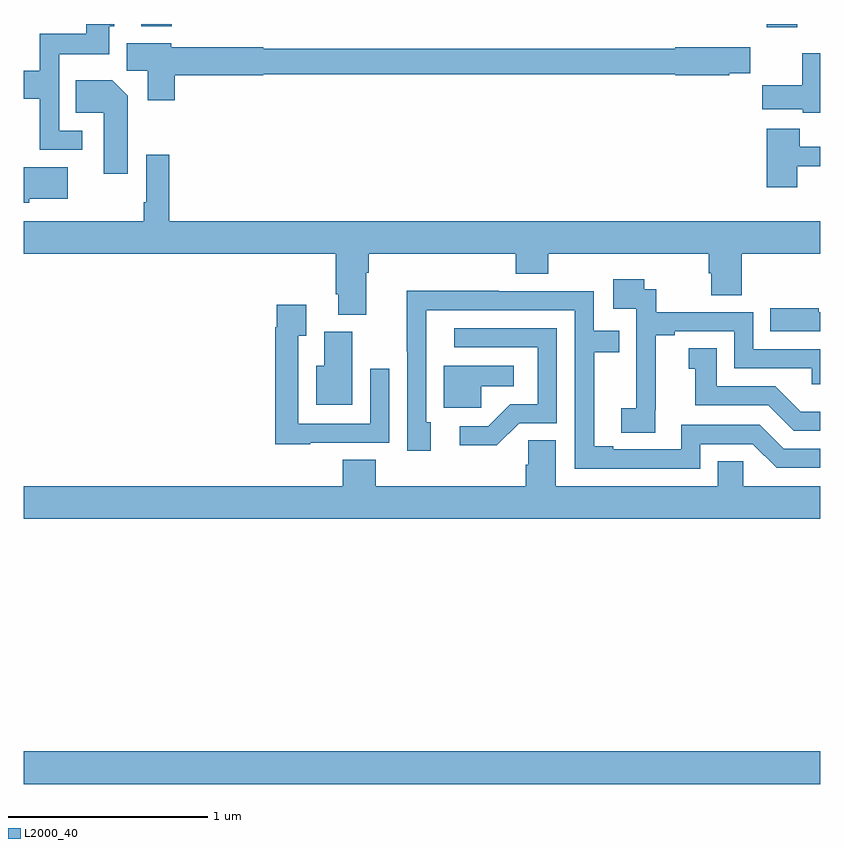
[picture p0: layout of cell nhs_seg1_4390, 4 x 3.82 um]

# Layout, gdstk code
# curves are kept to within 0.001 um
import gdstk
lib = gdstk.Library(unit=1e-6, precision=1e-09)
def R(c, l, rs):  # rectangles x0, y0, x1, y1
    for r in rs: c.add(gdstk.rectangle(r[:2], r[2:], *l))
def P(c, l, *ps):  # polygons
    for p in ps: c.add(gdstk.Polygon(p, *l))
L2000_40 = (2000, 40)

nhs_seg1_4390 = lib.new_cell('nhs_seg1_4390')
R(nhs_seg1_4390, L2000_40, [(349,570.38,353,570.544), (352.733,574.182,352.885,574.199), (349.589,574.187,349.742,574.199)])
P(nhs_seg1_4390, L2000_40, [(349.294,573.663),(349.176,573.663),(349.176,574.046),(349.429,574.046),(349.429,574.188),(349.453,574.188),(349.453,574.199),(349.313,574.199),(349.313,574.15),(349.078,574.15),(349.078,573.964),(349,573.964),(349,573.824),(349.08,573.824),(349.08,573.567),(349.294,573.567)],
  [(349.757,573.941),(350.202,573.941),(350.202,573.946),(352.272,573.946),(352.272,573.941),(352.544,573.941),(352.544,573.951),(352.65,573.951),(352.65,574.083),(352.272,574.083),(352.272,574.075),(350.202,574.075),(350.202,574.083),(349.74,574.083),(349.74,574.102),(349.517,574.102),(349.517,573.964),(349.622,573.964),(349.622,573.816),(349.757,573.816)],
  [(353,574.051),(352.91,574.051),(352.91,573.89),(352.71,573.89),(352.71,573.77),(352.914,573.77),(352.914,573.752),(353,573.752)],
  [(349.522,573.838),(349.444,573.916),(349.261,573.916),(349.261,573.752),(349.4,573.752),(349.4,573.447),(349.522,573.447)],
  [(352.885,573.483),(353,573.483),(353,573.583),(352.898,573.583),(352.898,573.673),(352.733,573.673),(352.733,573.378),(352.885,573.378)],
  [(350.719,572.948),(350.732,572.948),(350.732,573.044),(351.47,573.044),(351.47,572.945),(351.635,572.945),(351.635,573.044),(352.442,573.044),(352.442,572.946),(352.454,572.946),(352.454,572.836),(352.607,572.836),(352.607,573.044),(353,573.044),(353,573.208),(349.73,573.208),(349.73,573.541),(349.614,573.541),(349.614,573.304),(349.602,573.304),(349.602,573.208),(349,573.208),(349,573.044),(350.567,573.044),(350.567,572.842),(350.579,572.842),(350.579,572.737),(350.719,572.737)],
  [(349.026,573.32),(349.219,573.32),(349.219,573.478),(349,573.478),(349,573.302),(349.026,573.302)],
  [(352.172,572.257),(352.174,572.257),(352.174,572.635),(352.27,572.635),(352.27,572.655),(352.569,572.655),(352.569,572.469),(352.959,572.469),(352.959,572.388),(353,572.388),(353,572.565),(352.665,572.565),(352.665,572.751),(352.178,572.751),(352.178,572.865),(352.116,572.865),(352.116,572.917),(351.96,572.917),(351.96,572.769),(352.077,572.769),(352.077,572.465),(352.076,572.465),(352.076,572.268),(352.002,572.268),(352.002,572.146),(352.172,572.146)],
  [(352.398,572.088),(352.662,572.088),(352.782,571.968),(353,571.968),(353,572.064),(352.818,572.064),(352.698,572.184),(352.302,572.184),(352.302,572.061),(351.961,572.061),(351.961,572.076),(351.865,572.076),(351.865,572.55),(351.992,572.55),(351.992,572.658),(351.864,572.658),(351.864,572.856),(351.386,572.856),(351.386,572.858),(350.924,572.858),(350.925,572.055),(351.043,572.055),(351.043,572.199),(351.021,572.199),(351.021,572.76),(351.768,572.76),(351.768,571.965),(352.398,571.965)],
  [(350.439,572.094),(350.835,572.094),(350.835,572.467),(350.739,572.467),(350.739,572.19),(350.379,572.19),(350.379,572.632),(350.419,572.632),(350.419,572.788),(350.271,572.788),(350.271,572.675),(350.263,572.675),(350.263,572.087),(350.439,572.087)],
  [(353,572.751),(352.993,572.751),(352.993,572.77),(352.75,572.77),(352.75,572.655),(353,572.655)],
  [(351.489,572.193),(351.678,572.193),(351.678,572.67),(351.162,572.67),(351.162,572.574),(351.582,572.574),(351.582,572.289),(351.444,572.289),(351.333,572.178),(351.189,572.178),(351.189,572.081),(351.376,572.081)],
  [(350.65,572.652),(350.51,572.652),(350.51,572.482),(350.468,572.482),(350.468,572.285),(350.65,572.285)],
  [(353,572.251),(352.904,572.251),(352.776,572.379),(352.48,572.379),(352.48,572.57),(352.34,572.57),(352.34,572.467),(352.373,572.467),(352.373,572.283),(352.74,572.283),(352.869,572.154),(353,572.154)],
  [(351.297,572.378),(351.46,572.378),(351.46,572.482),(351.11,572.482),(351.11,572.271),(351.297,572.271)],
  [(353,571.876),(352.614,571.876),(352.614,572.003),(352.487,572.003),(352.487,571.876),(351.673,571.876),(351.673,572.108),(351.534,572.108),(351.534,571.985),(351.521,571.985),(351.521,571.876),(350.768,571.876),(350.768,572.009),(350.603,572.009),(350.603,571.876),(349,571.876),(349,571.712),(353,571.712)])

lib.write_gds('nhs_seg1_4390.gds')
